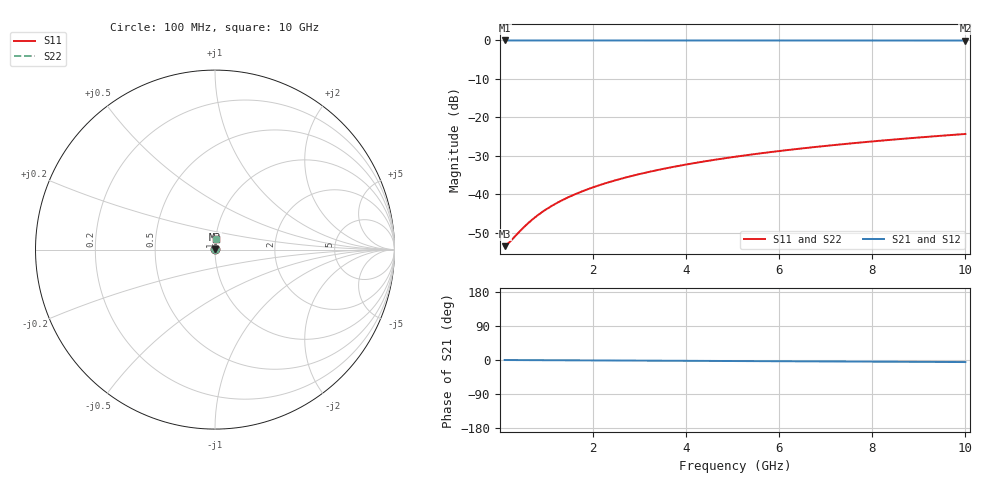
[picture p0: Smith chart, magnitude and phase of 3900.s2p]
# Hz S RI R 50.00
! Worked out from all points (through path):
!   100 points, 100 MHz to 10 GHz, reference 50 ohm
!   highest |S21| = -0.02 dB at 100 MHz (marker M1); lowest = 0.0 dB at 10 GHz (marker M2)
!   lowest |S11| = -53.4 dB at 100 MHz (marker M3), VSWR 1.00, Z = 50.2 + j0.0609 ohm
!   |S11| at or under -10 dB: start of sweep to end of sweep
!   |S22| runs from -53.4 to -24.3 dB; largest |S21 - S12| = 0
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1e8  0.00204 0.000606  0.998 -0.000945  0.998 -0.000945  0.00204 0.000606
2e8  0.00205 0.00121  0.9979 -0.00189  0.9979 -0.00189  0.00205 0.00121
5e8  0.00209 0.00303  0.9979 -0.00473  0.9979 -0.00473  0.00209 0.00303
6e8  0.0021 0.00364  0.9979 -0.00567  0.9979 -0.00567  0.0021 0.00364
7e8  0.00211 0.00424  0.9979 -0.00662  0.9979 -0.00662  0.00211 0.00424
9e8  0.00214 0.00545  0.9978 -0.00851  0.9978 -0.00851  0.00214 0.00545
1.1e9  0.00217 0.00667  0.9978 -0.0104  0.9978 -0.0104  0.00217 0.00667
1.3e9  0.00221 0.00788  0.9978 -0.0123  0.9978 -0.0123  0.00221 0.00788
1.5e9  0.00225 0.00909  0.9977 -0.0142  0.9977 -0.0142  0.00225 0.00909
1.8e9  0.00231 0.0109  0.9977 -0.017  0.9977 -0.017  0.00231 0.0109
2.1e9  0.00239 0.0127  0.9976 -0.0198  0.9976 -0.0198  0.00239 0.0127
2.5e9  0.0025 0.0151  0.9975 -0.0236  0.9975 -0.0236  0.0025 0.0151
2.9e9  0.00264 0.0176  0.9973 -0.0274  0.9973 -0.0274  0.00264 0.0176
3.4e9  0.00283 0.0206  0.9971 -0.0321  0.9971 -0.0321  0.00283 0.0206
3.8e9  0.003 0.023  0.9969 -0.0359  0.9969 -0.0359  0.003 0.023
4.2e9  0.00319 0.0254  0.9967 -0.0397  0.9967 -0.0397  0.00319 0.0254
5.1e9  0.00369 0.0309  0.9961 -0.0482  0.9961 -0.0482  0.00369 0.0309
5.9e9  0.00421 0.0357  0.9956 -0.0558  0.9956 -0.0558  0.00421 0.0357
6.7e9  0.0048 0.0405  0.9949 -0.0633  0.9949 -0.0633  0.0048 0.0405
7.5e9  0.00547 0.0453  0.9942 -0.0709  0.9942 -0.0709  0.00547 0.0453
8.4e9  0.00631 0.0508  0.9933 -0.0793  0.9933 -0.0793  0.00631 0.0508
1e10  0.00803 0.0604  0.9914 -0.0944  0.9914 -0.0944  0.00803 0.0604
